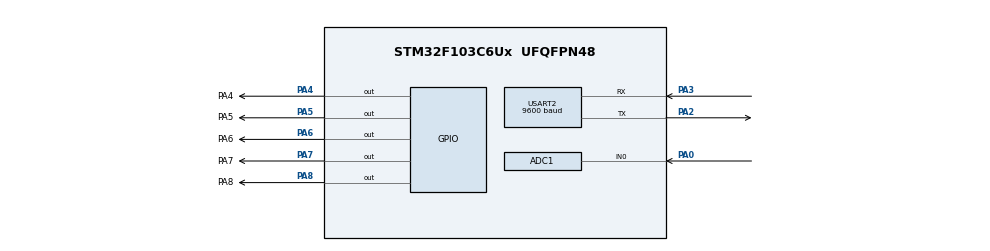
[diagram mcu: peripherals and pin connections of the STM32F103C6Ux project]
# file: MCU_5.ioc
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ADC1.ContinuousConvMode=ENABLE
ADC1.NbrOfConversionFlag=1
ADC1.master=1
Mcu.Family=STM32F1
Mcu.Name=STM32F103C6Ux
Mcu.Package=UFQFPN48
NVIC.ADC1_2_IRQn=true\:0\:0\:false\:false\:true\:true\:true\:true
NVIC.PriorityGroup=NVIC_PRIORITYGROUP_4
NVIC.TIM2_IRQn=true\:0\:0\:false\:false\:true\:true\:true\:true
NVIC.USART2_IRQn=true\:0\:0\:false\:false\:true\:true\:true\:true
PA0-WKUP.Signal=ADCx_IN0
PA13.Mode=Serial_Wire
PA13.Signal=SYS_JTMS-SWDIO
PA14.Mode=Serial_Wire
PA14.Signal=SYS_JTCK-SWCLK
PA2.Mode=Asynchronous
PA2.Signal=USART2_TX
PA3.Mode=Asynchronous
PA3.Signal=USART2_RX
PA4.GPIO_Label=PA4
PA4.Signal=GPIO_Output
PA5.GPIO_Label=PA5
PA5.Signal=GPIO_Output
PA6.GPIO_Label=PA6
PA6.Signal=GPIO_Output
PA7.GPIO_Label=PA7
PA7.Signal=GPIO_Output
PA8.GPIO_Label=PA8
PA8.Signal=GPIO_Output
ProjectManager.HeapSize=0x200
ProjectManager.StackSize=0x400
ProjectManager.TargetToolchain=STM32CubeIDE
RCC.APB1Freq_Value=8000000
RCC.APB2Freq_Value=8000000
SH.ADCx_IN0.0=ADC1_IN0,IN0
TIM2.Period=9
TIM2.Prescaler=7999
USART2.BaudRate=9600
USART2.VirtualMode=VM_ASYNC
VP_TIM2_VS_ClockSourceINT.Mode=Internal
board=custom

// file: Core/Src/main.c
/* USER CODE BEGIN Header */
/**
  ******************************************************************************
  * @file           : main.c
  * @brief          : Main program body
  ******************************************************************************
  * @attention
  *
  * Copyright (c) 2023 STMicroelectronics.
  * All rights reserved.
  *
  * This software is licensed under terms that can be found in the LICENSE file
  * in the root directory of this software component.
  * If no LICENSE file comes with this software, it is provided AS-IS.
  *
  ******************************************************************************
  */
/* USER CODE END Header */
#include "main.h"

/* USER CODE BEGIN Includes */
#include "scheduler.h"
#include "stdio.h"
#include "string.h"

/* USER CODE END Includes */

ADC_HandleTypeDef hadc1;

TIM_HandleTypeDef htim2;

UART_HandleTypeDef huart2;

void SystemClock_Config(void);
static void MX_GPIO_Init(void);
static void MX_TIM2_Init(void);
static void MX_ADC1_Init(void);
static void MX_USART2_UART_Init(void);

/* USER CODE BEGIN 0 */
void togglePA4(){
	HAL_GPIO_TogglePin(GPIOA, PA4_Pin);
}
void togglePA5(){
	HAL_GPIO_TogglePin(GPIOA, PA5_Pin);
}

void togglePA6(){
	HAL_GPIO_TogglePin(GPIOA, PA6_Pin);
}
void togglePA7(){
	HAL_GPIO_TogglePin(GPIOA, PA7_Pin);
}
void togglePA8(){
	HAL_GPIO_TogglePin(GPIOA, PA8_Pin);
}

#define MAX_CMD_SIZE 5
#define MAX_BUFFER_SIZE 30
#define INIT 0
#define HANDLE 1
#define SERVING 2
#define RST 1
#define OK 2

uint8_t temp_byte;
uint8_t buffer[MAX_BUFFER_SIZE];
uint8_t index_buffer = 0;
uint8_t buffer_flag = 0;
uint8_t cmd_flag = 0;
uint8_t cmd_data[MAX_CMD_SIZE];
uint8_t cmd_data_index = 0;
int ADC_value = 0;
int mode = 0;

void reset_buffer(){
	for(int i=0; i < MAX_BUFFER_SIZE; i++){
		buffer[i] = ' ';
	}
	index_buffer = 0;
	//cmd_data_index = 0;
}
void HAL_UART_RxCpltCallback(UART_HandleTypeDef *huart){
	if (huart->Instance == USART2){
		HAL_UART_Transmit(&huart2, &temp_byte, 1, 500);
		buffer[index_buffer++] = temp_byte;
		if (index_buffer == MAX_BUFFER_SIZE) {
			index_buffer = 0;
		}

		buffer_flag = 1;
		HAL_UART_Receive_IT(&huart2, &temp_byte, 1);
	}
}

int check_RST(uint8_t str[]){
	if (str[0] == 'R' && str[1] == 'S' && str[2] == 'T'){
		return 1;
	}
	else return 0;
}

int check_OK(uint8_t str[]){
	if (str[0] == 'O' && str[1] == 'K'){
		return 1;
	}
	else return 0;
}

void cmd_parser_fsm(){
	switch(mode){
	case INIT:
		if(temp_byte == '!'){
			reset_buffer();
			mode = HANDLE;
		}
		reset_buffer();
		break;
	case HANDLE:
		if(index_buffer == 0){
			mode = INIT;
		}
		else if(temp_byte == '#'){
			memcpy(cmd_data, buffer, sizeof(cmd_data));
			cmd_flag = 1;
			mode = INIT;
		}
		else if(temp_byte == '!'){
			reset_buffer();
		}
		break;
	}
}

void uart_communication(){
	char str[50];
	if(cmd_flag == 1){
		if(check_RST(cmd_data) == 1){
			ADC_value = HAL_ADC_GetValue(&hadc1);
			HAL_UART_Transmit(&huart2, (void *)str, sprintf(str, "!ADC=%d#\r\n",ADC_value), 500);
		}
		else if(check_OK(cmd_data) == 1){
			ADC_value = -1;
			cmd_flag = 0;
		}
	}
}

void run_parser_fsm(){
	  if (buffer_flag == 1){
		  cmd_parser_fsm();
		  buffer_flag = 0;
	  }
}

/* USER CODE END 0 */

int main(void)
{

  /* MCU Configuration--------------------------------------------------------*/

  /* Reset of all peripherals, Initializes the Flash interface and the Systick. */
  HAL_Init();

  /* Configure the system clock */
  SystemClock_Config();

  /* Initialize all configured peripherals */
  MX_GPIO_Init();
  MX_TIM2_Init();
  MX_ADC1_Init();
  MX_USART2_UART_Init();
  /* USER CODE BEGIN 2 */
  HAL_TIM_Base_Start_IT(&htim2);
  HAL_UART_Receive_IT(&huart2, &temp_byte, 1);
  HAL_ADC_Start(&hadc1);

  /* USER CODE END 2 */

  /* Infinite loop */
  /* USER CODE BEGIN WHILE */
  SCH_Init();
  //HAL_GPIO_WritePin(GPIOA, PA4_Pin |PA5_Pin | PA6_Pin |PA7_Pin |PA8_Pin, SET);
  SCH_Add_Task(run_parser_fsm, 40, 50);
  SCH_Add_Task(uart_communication, 50, 50);
  SCH_Add_Task(togglePA4, 50, 100);
  SCH_Add_Task(togglePA5, 100, 100);
  SCH_Add_Task(togglePA6, 150, 100);
  SCH_Add_Task(togglePA7, 200, 100);
  SCH_Add_Task(togglePA8, 300, 0);

  while (1)
  {
    /* USER CODE END WHILE */

    /* USER CODE BEGIN 3 */
	  SCH_Dispatch_Tasks();
//	  togglePA4();
//	  HAL_Delay(2000);
//	  togglePA5();
//	  HAL_Delay(2000);
//	  togglePA6();
//	  HAL_Delay(2000);
//	  togglePA7();
//	  HAL_Delay(2000);
//	  togglePA8();
//	  HAL_Delay(2000);
  }
  /* USER CODE END 3 */
}

void SystemClock_Config(void)
{
  RCC_OscInitTypeDef RCC_OscInitStruct = {0};
  RCC_ClkInitTypeDef RCC_ClkInitStruct = {0};
  RCC_PeriphCLKInitTypeDef PeriphClkInit = {0};

  /** Initializes the RCC Oscillators according to the specified parameters
  * in the RCC_OscInitTypeDef structure.
  */
  RCC_OscInitStruct.OscillatorType = RCC_OSCILLATORTYPE_HSI;
  RCC_OscInitStruct.HSIState = RCC_HSI_ON;
  RCC_OscInitStruct.HSICalibrationValue = RCC_HSICALIBRATION_DEFAULT;
  RCC_OscInitStruct.PLL.PLLState = RCC_PLL_NONE;
  if (HAL_RCC_OscConfig(&RCC_OscInitStruct) != HAL_OK)
  {
    Error_Handler();
  }

  /** Initializes the CPU, AHB and APB buses clocks
  */
  RCC_ClkInitStruct.ClockType = RCC_CLOCKTYPE_HCLK|RCC_CLOCKTYPE_SYSCLK
                              |RCC_CLOCKTYPE_PCLK1|RCC_CLOCKTYPE_PCLK2;
  RCC_ClkInitStruct.SYSCLKSource = RCC_SYSCLKSOURCE_HSI;
  RCC_ClkInitStruct.AHBCLKDivider = RCC_SYSCLK_DIV1;
  RCC_ClkInitStruct.APB1CLKDivider = RCC_HCLK_DIV1;
  RCC_ClkInitStruct.APB2CLKDivider = RCC_HCLK_DIV1;

  if (HAL_RCC_ClockConfig(&RCC_ClkInitStruct, FLASH_LATENCY_0) != HAL_OK)
  {
    Error_Handler();
  }
  PeriphClkInit.PeriphClockSelection = RCC_PERIPHCLK_ADC;
  PeriphClkInit.AdcClockSelection = RCC_ADCPCLK2_DIV2;
  if (HAL_RCCEx_PeriphCLKConfig(&PeriphClkInit) != HAL_OK)
  {
    Error_Handler();
  }
}

static void MX_ADC1_Init(void)
{

  ADC_ChannelConfTypeDef sConfig = {0};

  /** Common config
  */
  hadc1.Instance = ADC1;
  hadc1.Init.ScanConvMode = ADC_SCAN_DISABLE;
  hadc1.Init.ContinuousConvMode = ENABLE;
  hadc1.Init.DiscontinuousConvMode = DISABLE;
  hadc1.Init.ExternalTrigConv = ADC_SOFTWARE_START;
  hadc1.Init.DataAlign = ADC_DATAALIGN_RIGHT;
  hadc1.Init.NbrOfConversion = 1;
  if (HAL_ADC_Init(&hadc1) != HAL_OK)
  {
    Error_Handler();
  }

  /** Configure Regular Channel
  */
  sConfig.Channel = ADC_CHANNEL_0;
  sConfig.Rank = ADC_REGULAR_RANK_1;
  sConfig.SamplingTime = ADC_SAMPLETIME_1CYCLE_5;
  if (HAL_ADC_ConfigChannel(&hadc1, &sConfig) != HAL_OK)
  {
    Error_Handler();
  }

}

static void MX_TIM2_Init(void)
{

  TIM_ClockConfigTypeDef sClockSourceConfig = {0};
  TIM_MasterConfigTypeDef sMasterConfig = {0};

  htim2.Instance = TIM2;
  htim2.Init.Prescaler = 7999;
  htim2.Init.CounterMode = TIM_COUNTERMODE_UP;
  htim2.Init.Period = 9;
  htim2.Init.ClockDivision = TIM_CLOCKDIVISION_DIV1;
  htim2.Init.AutoReloadPreload = TIM_AUTORELOAD_PRELOAD_DISABLE;
  if (HAL_TIM_Base_Init(&htim2) != HAL_OK)
  {
    Error_Handler();
  }
  sClockSourceConfig.ClockSource = TIM_CLOCKSOURCE_INTERNAL;
  if (HAL_TIM_ConfigClockSource(&htim2, &sClockSourceConfig) != HAL_OK)
  {
    Error_Handler();
  }
  sMasterConfig.MasterOutputTrigger = TIM_TRGO_RESET;
  sMasterConfig.MasterSlaveMode = TIM_MASTERSLAVEMODE_DISABLE;
  if (HAL_TIMEx_MasterConfigSynchronization(&htim2, &sMasterConfig) != HAL_OK)
  {
    Error_Handler();
  }

}

static void MX_USART2_UART_Init(void)
{

  huart2.Instance = USART2;
  huart2.Init.BaudRate = 9600;
  huart2.Init.WordLength = UART_WORDLENGTH_8B;
  huart2.Init.StopBits = UART_STOPBITS_1;
  huart2.Init.Parity = UART_PARITY_NONE;
  huart2.Init.Mode = UART_MODE_TX_RX;
  huart2.Init.HwFlowCtl = UART_HWCONTROL_NONE;
  huart2.Init.OverSampling = UART_OVERSAMPLING_16;
  if (HAL_UART_Init(&huart2) != HAL_OK)
  {
    Error_Handler();
  }

}

static void MX_GPIO_Init(void)
{
  GPIO_InitTypeDef GPIO_InitStruct = {0};

  /* GPIO Ports Clock Enable */
  __HAL_RCC_GPIOA_CLK_ENABLE();

  /*Configure GPIO pin Output Level */
  HAL_GPIO_WritePin(GPIOA, PA4_Pin|PA5_Pin|PA6_Pin|PA7_Pin
                          |PA8_Pin, GPIO_PIN_RESET);

  /*Configure GPIO pins : PA4_Pin PA5_Pin PA6_Pin PA7_Pin
                           PA8_Pin */
  GPIO_InitStruct.Pin = PA4_Pin|PA5_Pin|PA6_Pin|PA7_Pin
                          |PA8_Pin;
  GPIO_InitStruct.Mode = GPIO_MODE_OUTPUT_PP;
  GPIO_InitStruct.Pull = GPIO_NOPULL;
  GPIO_InitStruct.Speed = GPIO_SPEED_FREQ_LOW;
  HAL_GPIO_Init(GPIOA, &GPIO_InitStruct);

}

/* USER CODE BEGIN 4 */
void HAL_TIM_PeriodElapsedCallback(TIM_HandleTypeDef *htim) {
	SCH_Update();
}

/* USER CODE END 4 */

void Error_Handler(void)
{
  __disable_irq();
  while (1)
  {
  }
}
